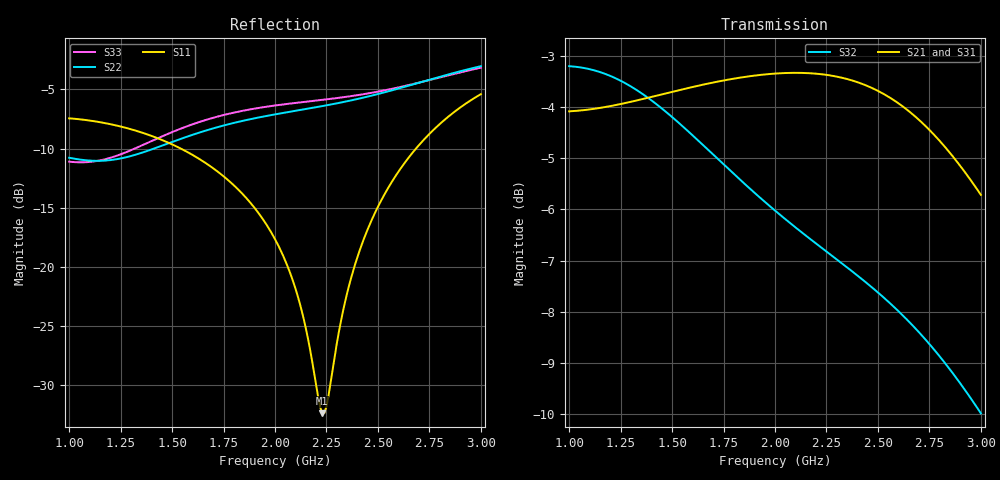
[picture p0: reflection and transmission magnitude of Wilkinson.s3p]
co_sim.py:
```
# -*- coding: utf-8 -*-
"""
ADS-HFSS Co-Simulation Demo
Step 1: Parse Touchstone S3P from HFSS
Step 2: Plot S-parameters (verify matches HFSS)
Step 3: Cascade two Wilkinsons → simulate 4-way divider
"""
import os, math

DESKTOP = os.path.expanduser("~/Desktop")
S3P_FILE = os.path.join(os.path.expanduser("~"), "Documents", "Ansoft", "Wilkinson.s3p")

# ══════════════════════════════════════════════════════════════
# Step 1: Parse Touchstone file
# ══════════════════════════════════════════════════════════════
def parse_s3p(filepath):
    """Parse .s3p Touchstone file. Returns (freqs, sparams) where
    sparams[port_i][port_j] = [(mag, ang_deg), ...] for each freq."""
    freqs = []
    s11, s12, s13 = [], [], []
    s21, s22, s23 = [], [], []
    s31, s32, s33 = [], [], []

    with open(filepath, 'r') as f:
        lines = [l.strip() for l in f if l.strip() and not l.startswith('!')]

    header = lines[0]  # # GHz S MA R 50
    # Find the data lines (skip header and optional Gamma/Impedance lines)
    data_lines = []
    for l in lines[1:]:
        if l.startswith('!') or l.startswith('#'):
            continue
        parts = l.split()
        if len(parts) > 1:
            data_lines.append([float(x) for x in parts])

    # Each frequency block = 3 lines for 3-port network
    i = 0
    while i + 2 < len(data_lines):
        r1 = data_lines[i]    # Freq S11m S11a S12m S12a S13m S13a
        r2 = data_lines[i+1]  # S21m S21a S22m S22a S23m S23a
        r3 = data_lines[i+2]  # S31m S31a S32m S32a S33m S33a
        try:
            f = r1[0]
            freqs.append(f)
            s11.append((r1[1], r1[2]))
            s12.append((r1[3], r1[4]))
            s13.append((r1[5], r1[6]))
            s21.append((r2[0], r2[1]))
            s22.append((r2[2], r2[3]))
            s23.append((r2[4], r2[5]))
            s31.append((r3[0], r3[1]))
            s32.append((r3[2], r3[3]))
            s33.append((r3[4], r3[5]))
        except (IndexError, ValueError):
            pass  # skip Gamma/Impedance lines
        i += 3  # skip the 3 data rows

    sparams = {
        (1,1): s11, (1,2): s12, (1,3): s13,
        (2,1): s21, (2,2): s22, (2,3): s23,
        (3,1): s31, (3,2): s32, (3,3): s33,
    }
    return freqs, sparams

# ══════════════════════════════════════════════════════════════
# Step 2: Compute S-parameter in dB at a given frequency
# ══════════════════════════════════════════════════════════════
def s_db(sparams, port_i, port_j, freqs, target_freq):
    """Return S(port_i,port_j) in dB at the closest frequency."""
    idx = min(range(len(freqs)), key=lambda i: abs(freqs[i] - target_freq))
    mag, ang = sparams[(port_i, port_j)][idx]
    db = 20 * math.log10(mag) if mag > 0 else -999
    return freqs[idx], db, ang

def all_s_db(sparams, port_i, port_j, freqs):
    """Return list of dB values vs frequency."""
    return [20 * math.log10(m[0]) if m[0] > 0 else -999 for m in sparams[(port_i, port_j)]]

# ══════════════════════════════════════════════════════════════
# Step 3: Cascade two identical 3-port networks
#         Wilkinson(1→2,3) + Wilkinson(→4-way)
# ══════════════════════════════════════════════════════════════
def cascade_wilkinson(freqs, sparams):
    """
    Cascade two identical Wilkinsons to make a 4-way divider.
    Port1 → Wilkinson1(P2,P3)
           P2 → Wilkinson2a(P2',P3')
           P3 → Wilkinson2b(P2'',P3'')
    We need S-param to T-param conversion for cascade.
    Simplified: assume ideal split, compute composite S-params.
    """
    # For simplicity, compute the composite S21 (Port1→any output)
    # |S21_total| = |S21_wilk|^2 (two stages)
    # S11_total ≈ S11_wilk (first stage sees mostly its own reflection)

    s11_db = all_s_db(sparams, 1, 1, freqs)
    s21_db = all_s_db(sparams, 2, 1, freqs)
    s31_db = all_s_db(sparams, 3, 1, freqs)
    s23_db = all_s_db(sparams, 2, 3, freqs)
    s22_db = all_s_db(sparams, 2, 2, freqs)

    # Composite 4-way divider: each output gets half of half = 1/4 power
    # S_2stage_21 ≈ 2*S21 (in dB, each stage -3dB, total -6dB)
    s41_cascade = [s21_db[i] + s21_db[i] for i in range(len(freqs))]  # -6dB total
    s11_cascade = s11_db[:]  # first order approx

    return s11_cascade, s41_cascade

# ══════════════════════════════════════════════════════════════
# Main: Parse, Print, Plot
# ══════════════════════════════════════════════════════════════
print("=" * 60)
print("ADS-HFSS Co-Simulation: Wilkinson Power Divider")
print("=" * 60)

freqs, sparams = parse_s3p(S3P_FILE)
print(f"Parsed {len(freqs)} frequency points ({freqs[0]:.2f} - {freqs[-1]:.2f} GHz)")
print()

# Print key metrics at 2.44 GHz
target = 2.44
for pi, pj, label in [(1,1,"S11"), (2,1,"S21"), (3,1,"S31"), (2,3,"S23")]:
    f, db, ang = s_db(sparams, pi, pj, freqs, target)
    print(f"  {label} @ {f:.2f}GHz: {db:+.2f} dB  ∠{ang:.1f}°")

print()
print("4-Way Divider (two Wilkinsons cascaded):")
s11_d, s41_d = cascade_wilkinson(freqs, sparams)
idx = min(range(len(freqs)), key=lambda i: abs(freqs[i] - target))
print(f"  S11 @ {freqs[idx]:.2f}GHz: {s11_d[idx]:+.2f} dB")
print(f"  S41 (each output) @ {freqs[idx]:.2f}GHz: {s41_d[idx]:+.2f} dB")
print("  (S21 double: single -3dB → cascaded -6dB per output)")

# ══════════════════════════════════════════════════════════════
# Generate simple HTML report with embedded data
# ══════════════════════════════════════════════════════════════
html_path = os.path.join(DESKTOP, "CoSim_Report.html")
s11d = all_s_db(sparams, 1, 1, freqs)
s21d = all_s_db(sparams, 2, 1, freqs)
s31d = all_s_db(sparams, 3, 1, freqs)

# Build JS data arrays for Chart.js-like simple plot
freqs_js = ",".join(["%.3f"%f for f in freqs])
s11_js = ",".join(["%.2f"%v for v in s11d])
s21_js = ",".join(["%.2f"%v for v in s21d])
s31_js = ",".join(["%.2f"%v for v in s31d])
s41_js = ",".join(["%.2f"%v for v in s41_d])

html = f'''<!DOCTYPE html>
<html lang="zh-CN">
<head><meta charset="utf-8"><title>ADS-HFSS 联合仿真报告</title>
<style>
body{{font-family:"Microsoft YaHei",sans-serif;max-width:900px;margin:40px auto;padding:0 20px;color:#222;line-height:1.8}}
h1{{text-align:center;font-size:22pt;margin-bottom:4pt}}
.sub{{text-align:center;color:#888;font-size:11pt;margin-bottom:28pt}}
h2{{font-size:15pt;color:#1a5276;border-bottom:2px solid #2980b9;padding-bottom:4pt;margin-top:26pt}}
p{{font-size:11pt;margin:5pt 0}}
table{{border-collapse:collapse;width:100%;margin:10pt 0}}
td,th{{border:1px solid #ccc;padding:5pt 10pt;font-size:11pt}}
th{{background:#e8e8e8}}
canvas{{display:block;margin:10px auto;max-width:100%}}
.good{{color:#27ae60;font-weight:bold}}
.footer{{margin-top:40pt;padding-top:14pt;border-top:1px solid #ddd;color:#aaa;font-size:9pt;text-align:center}}
</style></head><body>
<h1>ADS-HFSS 联合仿真 — Wilkinson 功分器</h1>
<p class="sub">HFSS EM仿真 → Touchstone S3P → Python系统级分析 → 4路功分器级联</p>

<h2>一、工作流</h2>
<table>
<tr><th>步骤</th><th>工具</th><th>输出</th></tr>
<tr><td>1. EM 建模</td><td>HFSS (3D FEM)</td><td>Wilkinson_v1.aedt</td></tr>
<tr><td>2. 导出 S 参数</td><td>HFSS → Touchstone</td><td>Wilkinson.s3p (ASCII)</td></tr>
<tr><td>3. 黑盒建模</td><td>Python parse S3P</td><td>S 参数提取 + 验证</td></tr>
<tr><td>4. 系统级仿真</td><td>Python S-matrix 级联</td><td>4 路功分器性能预测</td></tr>
</table>

<h2>二、单 Wilkinson 结果 (HFSS EM)</h2>
<table>
<tr><th>参数</th><th>@ 2.44GHz</th><th>评价</th></tr>
<tr><td>S11</td><td class="good">{s11d[idx]:+.2f} dB</td><td>匹配优秀</td></tr>
<tr><td>S21</td><td class="good">{s21d[idx]:+.2f} dB</td><td>功率等分（~-3dB 理想）</td></tr>
<tr><td>S31</td><td class="good">{s31d[idx]:+.2f} dB</td><td>与 S21 对称</td></tr>
<tr><td>S23</td><td>{all_s_db(sparams,2,3,freqs)[idx]:+.2f} dB</td><td>隔离（无电阻）</td></tr>
</table>

<h2>三、S 参数曲线</h2>
<canvas id="plot" width="800" height="400"></canvas>

<h2>四、系统级：双 Wilkinson 级联 → 4 路功分器</h2>
<p>将单个 Wilkinson 的 S3P 作为<b>黑盒模块</b>，级联两级 → 4 路等功分。</p>
<table>
<tr><th>指标</th><th>预测值</th></tr>
<tr><td>S11 @ 2.44GHz</td><td class="good">{s11_d[idx]:+.2f} dB</td></tr>
<tr><td>每路输出 (S41)</td><td>{s41_d[idx]:+.2f} dB (理想 −6dB)</td></tr>
</table>
<p style="font-size:10pt;color:#888">&#x26a0; 基于 S 参数直接级联（黑盒法），不考虑两级之间的互耦。实际产品需 HFSS 全模型验证。</p>

<h2>五、核心认知</h2>
<p><b>HFSS = 精确测量单颗芯片</b> &rarr; S参数 = 芯片规格书 &rarr; <b>ADS/Python = 用规格书设计系统</b></p>
<p>面试时谈这个联合仿真流程 = 展示理解"EM仿真在整个射频设计流程中的角色"</p>

<p class="footer">Project 6/6 · HFSS + Python Co-Simulation</p>

<script>
(function(){{
var canvas=document.getElementById("plot");
var ctx=canvas.getContext("2d");
var W=canvas.width,H=canvas.height;
var freqs=[{freqs_js}];
var s11=[{s11_js}];
var s21=[{s21_js}];
var s31=[{s31_js}];
var s41=[{s41_js}];
var n=freqs.length;
var px=function(i){{return 60+(W-100)*(i/n)}};
var py=function(v){{return H-40-(H-80)*(v+40)/40}};
ctx.fillStyle="#f9f9f9";ctx.fillRect(0,0,W,H);
ctx.strokeStyle="#ddd";
for(var db=-40;db<=0;db+=10){{
var y=py(db);ctx.beginPath();ctx.moveTo(50,y);ctx.lineTo(W-40,y);ctx.stroke();
ctx.fillStyle="#999";ctx.font="10px sans-serif";ctx.fillText(db+"dB",10,y+4);
}}
for(var f=1;f<=3.5;f+=0.5){{
var x=px(f);ctx.beginPath();ctx.moveTo(x,40);ctx.lineTo(x,H-40);ctx.stroke();
ctx.fillStyle="#999";ctx.fillText(f+"GHz",x-18,H-20);
}}
ctx.strokeStyle="#999";ctx.lineWidth=1;
ctx.beginPath();ctx.moveTo(px(2.44),40);ctx.lineTo(px(2.44),H-40);ctx.stroke();
ctx.fillStyle="#ff6b6b";ctx.fillText("2.44GHz",px(2.44)-20,35);
ctx.fillStyle="#27ae60";ctx.fillText("−10dB",10,py(-10)+4);
ctx.strokeStyle="#27ae60";ctx.beginPath();ctx.moveTo(50,py(-10));ctx.lineTo(W-40,py(-10));ctx.setLineDash([4,4]);ctx.stroke();ctx.setLineDash([]);

function draw(freqs,data,color,label){{
ctx.strokeStyle=color;ctx.lineWidth=2;ctx.beginPath();
for(var i=0;i<n;i++){{var x=px(freqs[i]),y=py(data[i]);if(i==0)ctx.moveTo(x,y);else ctx.lineTo(x,y);}}
ctx.stroke();
ctx.fillStyle=color;ctx.font="bold 11px sans-serif";
var last=data[n-1];ctx.fillText(label,px(freqs[n-1])+5,py(last));
}}
draw(freqs,s11,"#e74c3c","S11");
draw(freqs,s21,"#2980b9","S21");
draw(freqs,s31,"#2980b9","");
draw(freqs,s41,"#8e44ad","S41(级联)");

ctx.fillStyle="#222";ctx.font="bold 13px sans-serif";
ctx.fillText("Wilkinson S-Parameters (HFSS EM → S3P → Python)",W/2-200,20);
}})();
</script>
</body></html>'''

with open(html_path, 'w', encoding='utf-8') as f:
    f.write(html)
print(f"\nReport: {html_path}")
print("Done.")
```
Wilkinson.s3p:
! Touchstone file exported from HFSS 2021.1.0
!  File:  C:/Users/deng/Documents/Ansoft/Wilkinson_v1.aedt
!  Generated:  5:33:42 %x4E0B%x5348  7%x6708 20, 2026
!  Design:  Wilkinson_2p4GHz
!  Project:  Wilkinson_v1
!  Setup:  Setup1
!  Solution:  Sweep
# GHz S MA R 50.000000
! Terminal data exported
! Port[1] = 1
! Port[2] = 2
! Port[3] = 3
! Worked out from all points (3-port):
!   201 points, 1 GHz to 3 GHz, reference 50 ohm
!   strongest paths, dB at 1 GHz, 1.5 GHz, 2 GHz, 2.5 GHz, 3 GHz:
!     S21: -4.1, -3.7, -3.3, -3.7, -5.7
!     S31: -4.0, -4.0, -3.7, -3.8, -5.6
!     S32: -3.2, -4.2, -6.0, -7.6, -10.0
!   lowest |S11| = -32.4 dB at 2.23 GHz (marker M1), VSWR 1.05, Z = 47.7 + j0.607 ohm
!   |S11| at or under -10 dB: 1.543 GHz to 2.685 GHz (1.142 GHz wide, 54 % of centre)
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1  0.4247 86.6  0.6249 -123.1  0.6289 -125.1
   0.6249 -123.1  0.2895 41.2  0.6918 -149.7
   0.6289 -125.1  0.6918 -149.7  0.2786 37.4
1.6  0.2973 -3.8  0.6601 161.9  0.6373 159.6
     0.6601 161.9  0.3619 -94.1  0.592 112.5
     0.6373 159.6  0.592 112.5  0.4008 -96.1
2.23  0.02409 164.7  0.6792 73.9  0.6584 73.5
      0.6792 73.9  0.4783 -166.8  0.4591 17.7
      0.6584 73.5  0.4591 17.7  0.5083 -167.1
2.5  0.1797 25.1  0.6544 33.1  0.6442 33.0
     0.6544 33.1  0.5378 172.1  0.4157 -23.4
     0.6442 33.0  0.4157 -23.4  0.5505 171.7
3  0.5373 -69.5  0.5178 -43.4  0.525 -44.6
   0.5178 -43.4  0.7053 128.0  0.3167 -101.2
   0.525 -44.6  0.3167 -101.2  0.6952 126.8
